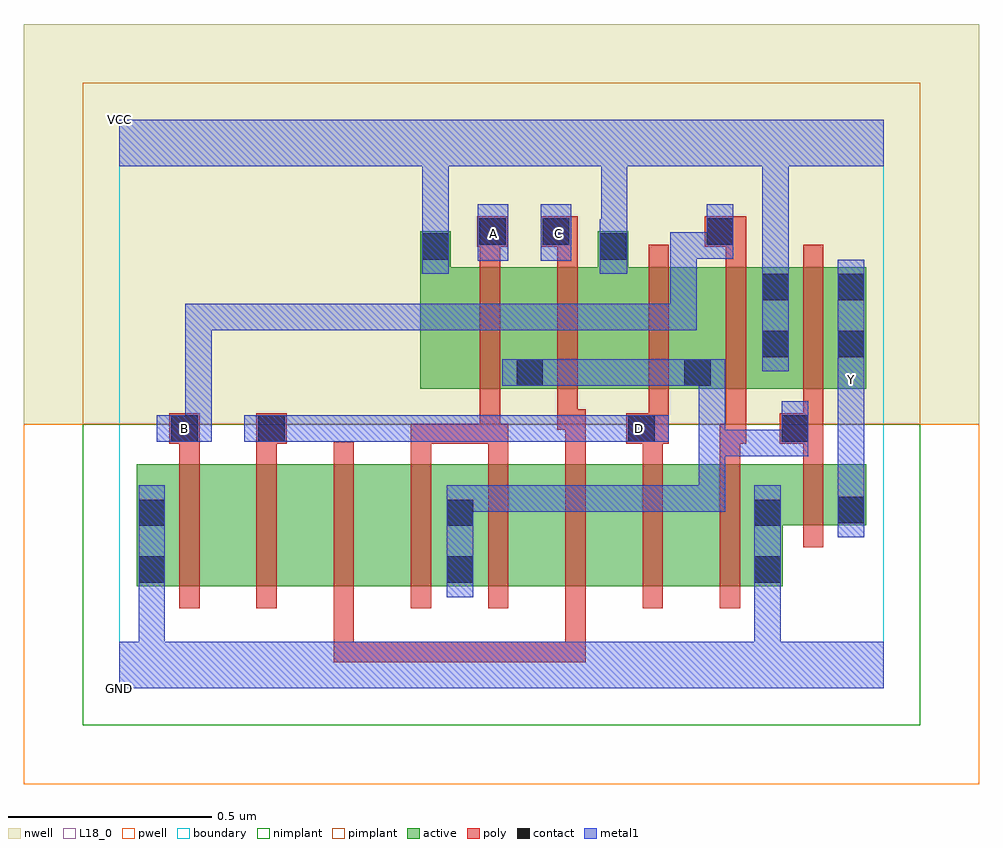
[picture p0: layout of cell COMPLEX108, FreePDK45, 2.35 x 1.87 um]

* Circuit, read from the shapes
.subckt COMPLEX108 A B C D GND VCC Y
M1 n1 B GND VSUBS nfet w=0.3u l=0.05u
M2 n2 D n1 VSUBS nfet w=0.3u l=0.05u
M3 n3 C n2 VSUBS nfet w=0.3u l=0.05u
M4 n4 A n3 VSUBS nfet w=0.3u l=0.05u
M5 n5 A n4 VSUBS nfet w=0.3u l=0.05u
M6 n6 C n5 VSUBS nfet w=0.3u l=0.05u
M7 n7 D n6 VSUBS nfet w=0.3u l=0.05u
M8 GND B n7 VSUBS nfet w=0.3u l=0.05u
M9 Y n4 GND VSUBS nfet w=0.15u l=0.05u
M10 n4 A VCC n8 pfet w=0.3u l=0.05u
M11 VCC C n4 n8 pfet w=0.3u l=0.05u
M12 n4 D VCC n8 pfet w=0.3u l=0.05u
M13 VCC B n4 n8 pfet w=0.3u l=0.05u
M14 Y n4 VCC n8 pfet w=0.3u l=0.05u
.ends

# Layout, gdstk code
import gdstk
lib = gdstk.Library(unit=1e-6, precision=1e-09)
def R(c, l, rs):  # rectangles x0, y0, x1, y1
    for r in rs: c.add(gdstk.rectangle(r[:2], r[2:], *l))
def A(c, l, x, y, w, h, nx, ny, dx, dy):  # array of equal rectangles
    R(c, l, [(x+i*dx, y+j*dy, x+i*dx+w, y+j*dy+h) for i in range(nx) for j in range(ny)])
active = (1, 0)
pwell = (2, 0)
nwell = (3, 0)
nimplant = (4, 0)
pimplant = (5, 0)
poly = (9, 0)
contact = (10, 0)
metal1 = (11, 0)
L18_0 = (18, 0)
boundary = (235, 0)

complex108 = lib.new_cell('COMPLEX108')
R(complex108, active, [(0.042,0.252,0.267,0.552), (0.042,0.252,0.117,0.552), (0.267,0.252,0.457,0.552), (0.457,0.252,0.647,0.552), (0.647,0.252,0.875,0.552), (0.8,0.252,1.027,0.552), (0.8,0.252,0.875,0.552), (1.027,0.252,1.217,0.552), (1.217,0.252,1.407,0.552), (1.407,0.252,1.632,0.552), (1.557,0.252,1.632,0.47), (1.557,0.402,1.837,0.552), (1.762,0.402,1.837,0.552), (0.74,0.737,1.047,1.037), (0.74,0.737,0.815,1.125), (0.972,0.737,1.252,1.037), (1.177,0.737,1.46,1.037), (1.385,0.737,1.652,1.037), (1.577,0.737,1.837,1.037), (1.762,0.737,1.837,1.037), (0.972,0.74,1.047,0.937), (1.385,0.74,1.46,1.005), (1.577,0.81,1.652,1.025), (1.177,0.867,1.252,1.125)])
R(complex108, pwell, [(-0.235,-0.235,2.115,0.65)])
R(complex108, nwell, [(-0.235,0.65,2.115,1.635)])
R(complex108, nimplant, [(-0.09,-0.09,1.97,0.65)])
R(complex108, pimplant, [(-0.09,0.65,1.97,1.49)])
A(complex108, poly, 0.147, 0.197, 0.05, 0.41, 8, 1, 0.19, 0)
A(complex108, poly, 1.302, 0.682, 0.05, 0.41, 3, 1, 0.19, 0)
R(complex108, poly, [(0.527,0.065,0.577,0.247), (0.527,0.065,0.577,0.115), (0.527,0.065,0.577,0.115), (0.527,0.065,0.577,0.115), (0.527,0.065,0.71,0.115), (0.66,0.065,0.71,0.115), (0.66,0.065,0.71,0.115), (0.66,0.065,0.71,0.115), (0.66,0.065,0.955,0.115), (0.905,0.065,1.147,0.115), (0.905,0.065,0.955,0.115), (0.905,0.065,0.955,0.115), (0.905,0.065,0.955,0.115), (1.097,0.065,1.147,0.247), (1.097,0.065,1.147,0.115), (1.682,0.347,1.732,0.607), (0.147,0.557,0.197,0.652), (0.337,0.557,0.387,0.652), (0.717,0.557,0.767,0.652), (0.907,0.557,0.957,0.652), (1.097,0.557,1.147,0.687), (1.287,0.557,1.337,0.652), (1.477,0.557,1.527,0.652), (1.682,0.557,1.732,0.652), (0.122,0.602,0.197,0.677), (0.337,0.602,0.412,0.677), (0.717,0.602,0.767,0.652), (0.717,0.602,0.767,0.652), (0.717,0.602,0.767,0.652), (0.717,0.602,0.937,0.652), (0.887,0.602,0.937,0.732), (0.887,0.602,0.957,0.652), (1.247,0.602,1.352,0.677), (1.477,0.602,1.542,0.652), (1.492,0.602,1.542,0.732), (1.625,0.602,1.732,0.677), (1.302,0.627,1.352,0.732), (1.682,0.627,1.732,0.732), (1.077,0.637,1.127,0.732), (1.077,0.637,1.147,0.687), (0.887,0.682,0.937,1.092), (1.077,0.682,1.127,1.092), (0.887,1.042,0.937,1.137), (1.077,1.042,1.127,1.137), (1.492,1.042,1.542,1.137), (0.88,1.087,0.955,1.162), (1.037,1.087,1.127,1.162), (1.44,1.087,1.542,1.162)])
R(complex108, contact, [(0.047,0.26,0.112,0.325), (0.805,0.26,0.87,0.325), (1.562,0.26,1.627,0.325), (0.047,0.4,0.112,0.465), (0.805,0.4,0.87,0.465), (1.562,0.4,1.627,0.465), (1.767,0.407,1.832,0.472), (0.127,0.607,0.192,0.672), (0.342,0.607,0.407,0.672), (1.252,0.607,1.317,0.672), (1.63,0.607,1.695,0.672), (0.977,0.745,1.042,0.81), (1.39,0.745,1.455,0.81), (1.582,0.815,1.647,0.88), (1.767,0.815,1.832,0.88), (1.582,0.955,1.647,1.02), (1.767,0.955,1.832,1.02), (0.745,1.055,0.81,1.12), (1.182,1.055,1.247,1.12), (0.885,1.092,0.95,1.157), (1.042,1.092,1.107,1.157), (1.445,1.092,1.51,1.157)])
R(complex108, metal1, [(0,0,1.88,0.115), (0.047,0.05,0.112,0.115), (0.047,0.05,0.112,0.115), (0.047,0.05,0.112,0.115), (0.047,0.05,0.112,0.115), (0.047,0.05,0.112,0.29), (1.562,0.05,1.627,0.29), (0.047,0.225,0.112,0.5), (0.805,0.225,0.87,0.5), (1.562,0.225,1.627,0.5), (1.562,0.225,1.627,0.29), (1.562,0.225,1.627,0.29), (1.562,0.225,1.627,0.29), (1.562,0.225,1.627,0.29), (1.767,0.372,1.832,0.507), (0.805,0.435,0.87,0.5), (0.805,0.435,0.87,0.5), (0.805,0.435,1.007,0.5), (0.942,0.435,1.007,0.5), (0.942,0.435,1.007,0.5), (0.942,0.435,1.007,0.5), (0.942,0.435,1.282,0.5), (1.217,0.435,1.282,0.5), (1.217,0.435,1.282,0.5), (1.217,0.435,1.282,0.5), (1.217,0.435,1.49,0.5), (1.425,0.435,1.49,0.5), (1.425,0.435,1.49,0.637), (1.767,0.442,1.832,0.757), (1.425,0.572,1.49,0.637), (1.425,0.572,1.49,0.637), (1.425,0.572,1.49,0.637), (1.425,0.572,1.695,0.637), (1.425,0.572,1.49,0.81), (1.63,0.572,1.695,0.707), (1.63,0.572,1.695,0.637), (1.63,0.572,1.695,0.637), (0.092,0.607,0.227,0.672), (0.162,0.607,0.227,0.672), (0.162,0.607,0.227,0.672), (0.162,0.607,0.227,0.947), (0.307,0.607,0.442,0.672), (0.377,0.607,0.442,0.672), (0.377,0.607,0.442,0.672), (0.377,0.607,0.595,0.672), (0.53,0.607,0.595,0.672), (0.53,0.607,0.595,0.672), (0.53,0.607,0.595,0.672), (0.53,0.607,0.732,0.672), (0.667,0.607,0.732,0.672), (0.667,0.607,0.732,0.672), (0.667,0.607,0.732,0.672), (0.667,0.607,0.87,0.672), (0.805,0.607,0.87,0.672), (0.805,0.607,1.11,0.672), (1.045,0.607,1.11,0.672), (1.045,0.607,1.11,0.672), (1.045,0.607,1.11,0.672), (1.045,0.607,1.277,0.672), (1.212,0.607,1.277,0.672), (1.212,0.607,1.277,0.672), (1.212,0.607,1.352,0.672), (1.767,0.692,1.832,0.827), (0.942,0.745,1.077,0.81), (1.012,0.745,1.077,0.81), (1.012,0.745,1.077,0.81), (1.012,0.745,1.25,0.81), (1.185,0.745,1.25,0.81), (1.185,0.745,1.25,0.81), (1.185,0.745,1.25,0.81), (1.185,0.745,1.42,0.81), (1.355,0.745,1.49,0.81), (1.767,0.762,1.832,0.845), (1.582,0.78,1.647,1.055), (1.767,0.78,1.832,1.055), (0.162,0.882,0.227,0.947), (0.162,0.882,0.442,0.947), (0.377,0.882,0.442,0.947), (0.377,0.882,0.442,0.947), (0.377,0.882,0.442,0.947), (0.377,0.882,0.58,0.947), (0.515,0.882,0.58,0.947), (0.515,0.882,0.58,0.947), (0.515,0.882,0.58,0.947), (0.515,0.882,0.732,0.947), (0.667,0.882,0.732,0.947), (0.667,0.882,0.732,0.947), (0.667,0.882,0.732,0.947), (0.667,0.882,0.732,0.947), (0.667,0.882,0.732,0.947), (0.667,0.882,0.87,0.947), (0.805,0.882,0.87,0.947), (0.805,0.882,1.11,0.947), (1.045,0.882,1.11,0.947), (1.045,0.882,1.11,0.947), (1.045,0.882,1.11,0.947), (1.045,0.882,1.282,0.947), (1.217,0.882,1.282,0.947), (1.217,0.882,1.282,0.947), (1.217,0.882,1.282,0.947), (1.217,0.882,1.42,0.947), (1.355,0.882,1.42,0.947), (1.355,0.882,1.42,0.947), (1.355,0.882,1.42,0.947), (1.355,0.882,1.42,1.122), (1.582,0.99,1.647,1.35), (0.745,1.02,0.81,1.155), (1.182,1.02,1.25,1.155), (0.882,1.052,0.957,1.192), (1.037,1.052,1.112,1.192), (1.355,1.057,1.42,1.122), (1.355,1.057,1.51,1.122), (1.445,1.057,1.51,1.192), (0.745,1.09,0.81,1.155), (0.745,1.09,0.81,1.155), (0.745,1.09,0.81,1.155), (0.745,1.09,0.81,1.155), (0.745,1.09,0.81,1.35), (1.185,1.09,1.25,1.35), (0,1.285,1.88,1.4), (1.185,1.285,1.25,1.35), (1.185,1.285,1.25,1.35), (1.185,1.285,1.25,1.35), (1.185,1.285,1.25,1.35), (1.582,1.285,1.647,1.35), (1.582,1.285,1.647,1.35), (1.582,1.285,1.647,1.35), (1.582,1.285,1.647,1.35)])
R(complex108, L18_0, [(0,0,1.88,0.115), (0.047,0.05,0.112,0.115), (0.047,0.05,0.112,0.115), (0.047,0.05,0.112,0.115), (0.047,0.05,0.112,0.115), (0.047,0.05,0.112,0.29), (1.562,0.05,1.627,0.29), (0.047,0.225,0.112,0.5), (1.562,0.225,1.627,0.29), (1.562,0.225,1.627,0.29), (1.562,0.225,1.627,0.29), (1.562,0.225,1.627,0.29), (1.562,0.225,1.627,0.5), (1.767,0.372,1.832,0.507), (1.767,0.442,1.832,0.757), (0.092,0.607,0.227,0.672), (0.127,0.607,0.192,0.672), (0.162,0.607,0.227,0.672), (0.162,0.607,0.227,0.672), (0.162,0.607,0.227,0.947), (0.307,0.607,0.442,0.672), (0.377,0.607,0.442,0.672), (0.377,0.607,0.442,0.672), (0.377,0.607,0.595,0.672), (0.53,0.607,0.595,0.672), (0.53,0.607,0.595,0.672), (0.53,0.607,0.595,0.672), (0.53,0.607,0.732,0.672), (0.667,0.607,0.732,0.672), (0.667,0.607,0.732,0.672), (0.667,0.607,0.732,0.672), (0.667,0.607,0.87,0.672), (0.805,0.607,0.87,0.672), (0.805,0.607,1.11,0.672), (1.045,0.607,1.11,0.672), (1.045,0.607,1.11,0.672), (1.045,0.607,1.11,0.672), (1.045,0.607,1.277,0.672), (1.212,0.607,1.277,0.672), (1.212,0.607,1.277,0.672), (1.212,0.607,1.352,0.672), (1.247,0.607,1.312,0.672), (1.767,0.692,1.832,0.827), (1.767,0.727,1.832,0.792), (1.767,0.762,1.832,0.845), (1.582,0.78,1.647,1.055), (1.767,0.78,1.832,1.055), (0.162,0.882,0.227,0.947), (0.162,0.882,0.442,0.947), (0.377,0.882,0.442,0.947), (0.377,0.882,0.442,0.947), (0.377,0.882,0.442,0.947), (0.377,0.882,0.58,0.947), (0.515,0.882,0.58,0.947), (0.515,0.882,0.58,0.947), (0.515,0.882,0.58,0.947), (0.515,0.882,0.732,0.947), (0.667,0.882,0.732,0.947), (0.667,0.882,0.732,0.947), (0.667,0.882,0.732,0.947), (0.667,0.882,0.732,0.947), (0.667,0.882,0.732,0.947), (0.667,0.882,0.87,0.947), (0.805,0.882,0.87,0.947), (0.805,0.882,1.11,0.947), (1.045,0.882,1.11,0.947), (1.045,0.882,1.11,0.947), (1.045,0.882,1.11,0.947), (1.045,0.882,1.282,0.947), (1.217,0.882,1.282,0.947), (1.217,0.882,1.282,0.947), (1.217,0.882,1.282,0.947), (1.217,0.882,1.42,0.947), (1.355,0.882,1.42,0.947), (1.355,0.882,1.42,0.947), (1.355,0.882,1.42,0.947), (1.355,0.882,1.42,1.122), (1.582,0.99,1.647,1.35), (0.745,1.02,0.81,1.155), (1.182,1.02,1.25,1.155), (0.882,1.052,0.957,1.192), (1.037,1.052,1.112,1.192), (1.355,1.057,1.42,1.122), (1.355,1.057,1.51,1.122), (1.445,1.057,1.51,1.192), (0.887,1.087,0.952,1.152), (1.047,1.087,1.112,1.152), (0.745,1.09,0.81,1.155), (0.745,1.09,0.81,1.155), (0.745,1.09,0.81,1.155), (0.745,1.09,0.81,1.155), (0.745,1.09,0.81,1.35), (1.185,1.09,1.25,1.35), (0,1.285,1.88,1.4), (1.185,1.285,1.25,1.35), (1.185,1.285,1.25,1.35), (1.185,1.285,1.25,1.35), (1.185,1.285,1.25,1.35), (1.582,1.285,1.647,1.35), (1.582,1.285,1.647,1.35), (1.582,1.285,1.647,1.35), (1.582,1.285,1.647,1.35)])
R(complex108, boundary, [(0,0,1.88,1.4)])
complex108.add(gdstk.Label('A', (0.92,1.12), layer=11, texttype=0))
complex108.add(gdstk.Label('B', (0.16,0.64), layer=11, texttype=0))
complex108.add(gdstk.Label('C', (1.08,1.12), layer=11, texttype=0))
complex108.add(gdstk.Label('D', (1.28,0.64), layer=11, texttype=0))
complex108.add(gdstk.Label('Y', (1.8,0.76), layer=11, texttype=0))
complex108.add(gdstk.Label('VCC', (0,1.4), layer=11, texttype=0))
complex108.add(gdstk.Label('GND', (0,0), layer=11, texttype=0))

lib.write_gds('COMPLEX108.gds')
